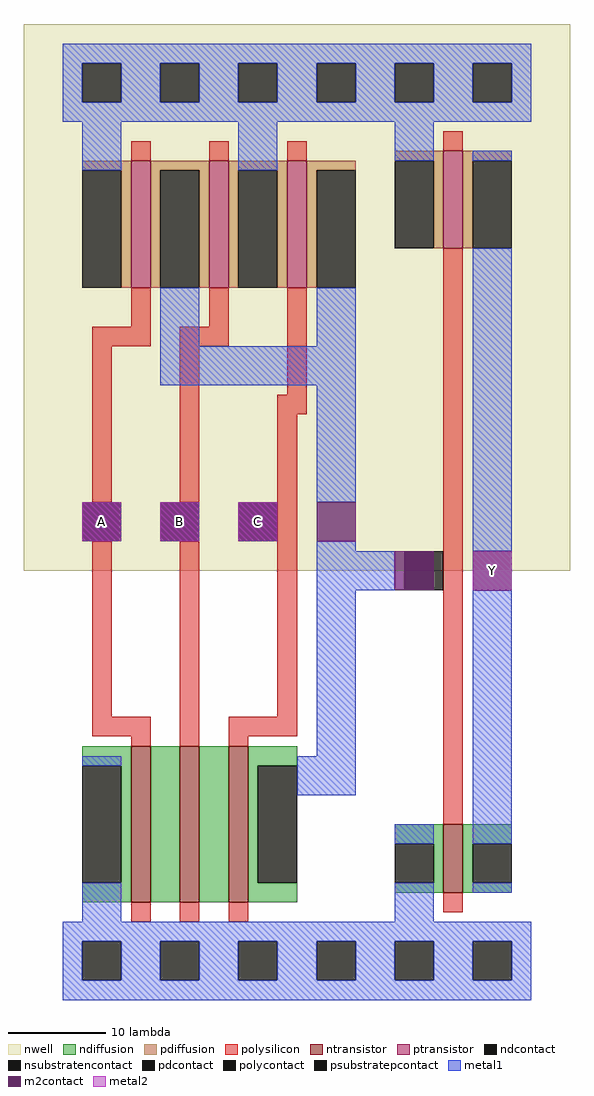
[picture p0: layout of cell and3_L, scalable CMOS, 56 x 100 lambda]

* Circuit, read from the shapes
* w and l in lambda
.subckt and3_L A B C Gnd! Vdd! Y
M1 n1 A Gnd! Gnd! nfet w=16 l=2
M2 n2 B n1 Gnd! nfet w=16 l=2
M3 nand3_L_0/Y C n2 Gnd! nfet w=16 l=2
M4 Y nand3_L_0/Y Gnd! Gnd! nfet w=7 l=2
M5 nand3_L_0/Y A Vdd! Vdd! pfet w=13 l=2
M6 Vdd! B nand3_L_0/Y Vdd! pfet w=13 l=2
M7 nand3_L_0/Y C Vdd! Vdd! pfet w=13 l=2
M8 Y nand3_L_0/Y Vdd! Vdd! pfet w=10 l=2
.ends

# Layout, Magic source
magic
tech scmos
<< metal1 >>
rect 34 42 38 46
<< metal2 >>
rect 6 47 10 51
rect 14 47 18 51
rect 22 47 26 51
rect 46 42 50 46
use nand3_L  nand3_L_0
transform 1 0 6 0 1 4
box -6 -4 34 96
use inv_1x  inv_1x_0 /home/hoeflinc/ECE425/Lab03
transform 1 0 38 0 1 4
box -6 -4 18 96
<< labels >>
rlabel metal2 8 49 8 49 1 A
rlabel metal2 16 49 16 49 1 B
rlabel metal2 24 49 24 49 1 C
rlabel metal2 48 44 48 44 1 Y
<< end >>

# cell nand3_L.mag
magic
tech scmos
<< nwell >>
rect -6 40 34 96
<< ntransistor >>
rect 5 6 7 22
rect 10 6 12 22
rect 15 6 17 22
<< ptransistor >>
rect 5 69 7 82
rect 13 69 15 82
rect 21 69 23 82
<< ndiffusion >>
rect 0 20 5 22
rect 4 8 5 20
rect 0 6 5 8
rect 7 6 10 22
rect 12 6 15 22
rect 17 20 22 22
rect 17 8 18 20
rect 17 6 22 8
<< pdiffusion >>
rect 0 81 5 82
rect 4 69 5 81
rect 7 81 13 82
rect 7 69 8 81
rect 12 69 13 81
rect 15 81 21 82
rect 15 69 16 81
rect 20 69 21 81
rect 23 81 28 82
rect 23 69 24 81
<< ndcontact >>
rect 0 8 4 20
rect 18 8 22 20
<< pdcontact >>
rect 0 69 4 81
rect 8 69 12 81
rect 16 69 20 81
rect 24 69 28 81
<< psubstratepcontact >>
rect 0 -2 4 2
rect 8 -2 12 2
rect 16 -2 20 2
rect 24 -2 28 2
<< nsubstratencontact >>
rect 0 88 4 92
rect 8 88 12 92
rect 16 88 20 92
rect 24 88 28 92
<< polysilicon >>
rect 5 82 7 84
rect 13 82 15 84
rect 21 82 23 84
rect 5 65 7 69
rect 13 65 15 69
rect 1 63 7 65
rect 10 63 15 65
rect 1 47 3 63
rect 10 47 12 63
rect 21 58 23 69
rect 20 56 23 58
rect 1 25 3 43
rect 1 23 7 25
rect 5 22 7 23
rect 10 22 12 43
rect 20 25 22 56
rect 15 23 22 25
rect 15 22 17 23
rect 5 4 7 6
rect 10 4 12 6
rect 15 4 17 6
<< polycontact >>
rect 0 43 4 47
rect 8 43 12 47
rect 16 43 20 47
<< metal1 >>
rect -2 92 30 94
rect -2 88 0 92
rect 4 88 8 92
rect 12 88 16 92
rect 20 88 24 92
rect 28 88 30 92
rect -2 86 30 88
rect 0 81 4 86
rect 16 81 20 86
rect 8 63 12 69
rect 24 63 28 69
rect 8 59 28 63
rect 24 47 28 59
rect 24 21 28 43
rect 0 20 4 21
rect 22 17 28 21
rect 0 4 4 8
rect -2 2 30 4
rect -2 -2 0 2
rect 4 -2 8 2
rect 12 -2 16 2
rect 20 -2 24 2
rect 28 -2 30 2
rect -2 -4 30 -2
<< m2contact >>
rect 0 43 4 47
rect 8 43 12 47
rect 16 43 20 47
rect 24 43 28 47
<< labels >>
rlabel metal1 0 0 0 0 1 Gnd!
rlabel metal1 -1 90 -1 90 3 Vdd!
rlabel m2contact 10 45 10 45 1 B
rlabel m2contact 18 45 18 45 1 C
rlabel m2contact 26 45 26 45 1 Y
rlabel m2contact 2 45 2 45 1 A
<< end >>

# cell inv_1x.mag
magic
tech scmos
<< nwell >>
rect -6 40 18 96
<< ntransistor >>
rect 5 7 7 14
<< ptransistor >>
rect 5 73 7 83
<< ndiffusion >>
rect 0 12 5 14
rect 4 8 5 12
rect 0 7 5 8
rect 7 12 12 14
rect 7 8 8 12
rect 7 7 12 8
<< pdiffusion >>
rect 0 82 5 83
rect 4 73 5 82
rect 7 82 12 83
rect 7 73 8 82
<< ndcontact >>
rect 0 8 4 12
rect 8 8 12 12
<< pdcontact >>
rect 0 73 4 82
rect 8 73 12 82
<< psubstratepcontact >>
rect 0 -2 4 2
rect 8 -2 12 2
<< nsubstratencontact >>
rect 0 88 4 92
rect 8 88 12 92
<< polysilicon >>
rect 5 83 7 85
rect 5 14 7 73
rect 5 5 7 7
<< polycontact >>
rect 1 38 5 42
<< metal1 >>
rect -2 92 14 94
rect -2 88 0 92
rect 4 88 8 92
rect 12 88 14 92
rect -2 86 14 88
rect 0 82 4 86
rect 8 82 12 83
rect 8 42 12 73
rect 0 12 4 14
rect 0 4 4 8
rect 8 12 12 38
rect 8 7 12 8
rect -2 2 14 4
rect -2 -2 0 2
rect 4 -2 8 2
rect 12 -2 14 2
rect -2 -4 14 -2
<< m2contact >>
rect 0 38 1 42
rect 1 38 4 42
rect 8 38 12 42
<< labels >>
rlabel m2contact 1 40 1 40 1 a
rlabel m2contact 10 40 10 40 1 y
rlabel metal1 -1 0 -1 0 3 Gnd!
rlabel metal1 -1 90 -1 90 3 Vdd!
<< end >>
